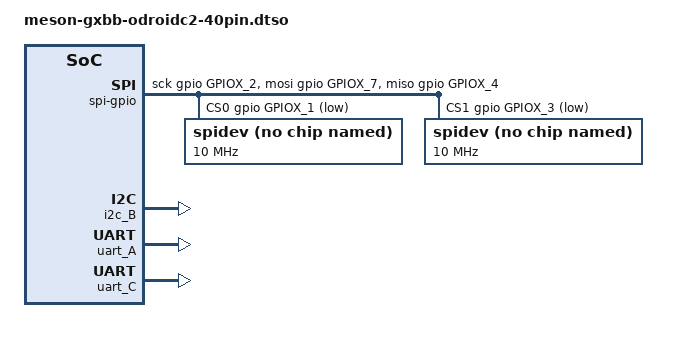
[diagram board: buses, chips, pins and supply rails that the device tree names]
// SPDX-License-Identifier: (GPL-2.0+ OR MIT)

/dts-v1/;
/plugin/;

#include <dt-bindings/gpio/gpio.h>
#include <dt-bindings/gpio/meson-gxbb-gpio.h>

&{/aliases} {
	serial1 = "/soc/bus@c1100000/serial@84c0";
	serial2 = "/soc/bus@c1100000/serial@8700";
	i2c0 = "/soc/bus@c1100000/i2c@8500";
	i2c1 = "/soc/bus@c1100000/i2c@87c0";
	spi0 = "/spi-gpio";
};

&{/} {
	spi-gpio {
		compatible = "spi-gpio";
		#address-cells = <1>;
		#size-cells = <0>;
		sck-gpios = <&gpio GPIOX_2 GPIO_ACTIVE_HIGH>;
		miso-gpios = <&gpio GPIOX_4 GPIO_ACTIVE_HIGH>;
		mosi-gpios = <&gpio GPIOX_7 GPIO_ACTIVE_HIGH>;
		cs-gpios = <&gpio GPIOX_1 GPIO_ACTIVE_LOW>,
			   <&gpio GPIOX_3 GPIO_ACTIVE_LOW>;
		num-chipselects = <2>;

		spidev@0 {
			compatible = "rohm,dh2228fv";
			reg = <0>;
			spi-max-frequency = <10000000>;
		};

		spidev@1 {
			compatible = "rohm,dh2228fv";
			reg = <1>;
			spi-max-frequency = <10000000>;
		};
	};
};

&i2c_B {
	pinctrl-0 = <&i2c_b_pins>;
	pinctrl-names = "default";
	status = "okay";
};

&uart_A {
	pinctrl-0 = <&uart_a_pins>;
	pinctrl-names = "default";
	status = "okay";
};

&uart_C {
	pinctrl-0 = <&uart_c_pins>;
	pinctrl-names = "default";
	status = "okay";
};
